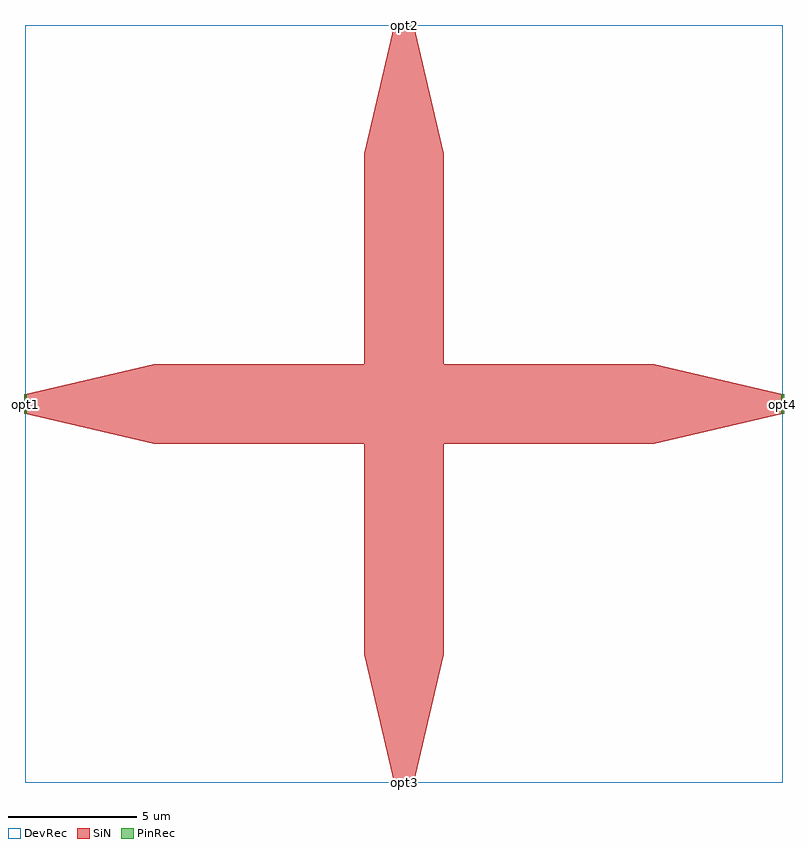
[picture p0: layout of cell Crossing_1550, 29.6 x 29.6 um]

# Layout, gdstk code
import gdstk
lib = gdstk.Library(unit=1e-6, precision=1e-09)
def R(c, l, rs):  # rectangles x0, y0, x1, y1
    for r in rs: c.add(gdstk.rectangle(r[:2], r[2:], *l))
def P(c, l, *ps):  # polygons
    for p in ps: c.add(gdstk.Polygon(p, *l))
PinRec = (1, 10)
SiN = (4, 0)
DevRec = (68, 0)

crossing_1550 = lib.new_cell('Crossing_1550')
P(crossing_1550, SiN, [(-0.375,-14.75),(-1.55,-9.75),(-1.55,-1.55),(-9.75,-1.55),(-14.75,-0.375),(-14.75,0.375),(-9.75,1.55),(-1.55,1.55),(-1.55,9.75),(-0.375,14.75),(0.375,14.75),(1.55,9.75),(1.55,1.55),(9.75,1.55),(14.75,0.375),(14.75,-0.375),(9.75,-1.55),(1.55,-1.55),(1.55,-9.75),(0.375,-14.75)])
R(crossing_1550, DevRec, [(-14.75,-14.75,14.75,14.75)])
crossing_1550.add(gdstk.FlexPath([(-14.7,0),(-14.8,0)], 0.75, ends="flush", simple_path=True, layer=1, datatype=10))  # PinRec
crossing_1550.add(gdstk.FlexPath([(0,14.7),(0,14.8)], 0.75, ends="flush", simple_path=True, layer=1, datatype=10))  # PinRec
crossing_1550.add(gdstk.FlexPath([(14.7,0),(14.8,0)], 0.75, ends="flush", simple_path=True, layer=1, datatype=10))  # PinRec
crossing_1550.add(gdstk.FlexPath([(0,-14.7),(0,-14.8)], 0.75, ends="flush", simple_path=True, layer=1, datatype=10))  # PinRec
crossing_1550.add(gdstk.Label('opt1', (-14.75,0), layer=1, texttype=10))
crossing_1550.add(gdstk.Label('opt2', (0,14.75), layer=1, texttype=10))
crossing_1550.add(gdstk.Label('opt4', (14.75,0), layer=1, texttype=10))
crossing_1550.add(gdstk.Label('opt3', (0,-14.75), layer=1, texttype=10))
crossing_1550.add(gdstk.Label('https://github.com/SiEPIC/SiEPIC_EBeam_PDK/tree/master/docs/components/ebeam_sin/crossing_SiN_1550/crossing_SiN_1550.md', (-13,0), layer=10, texttype=0))

lib.write_gds('Crossing_1550.gds')
